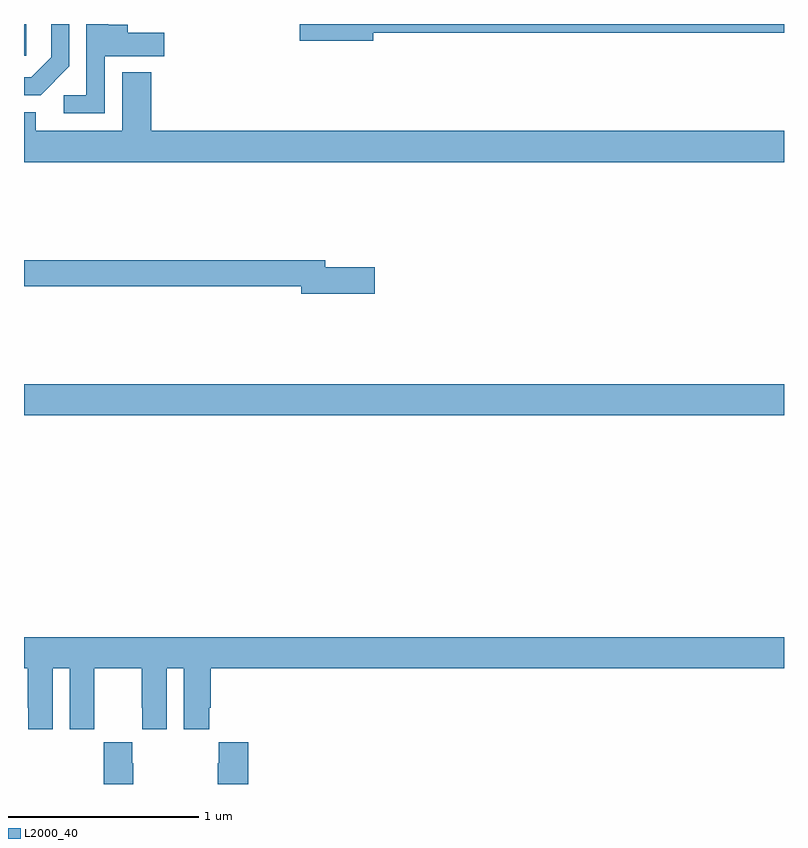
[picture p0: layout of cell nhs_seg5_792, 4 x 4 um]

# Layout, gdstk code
import gdstk
lib = gdstk.Library(unit=1e-6, precision=1e-09)
def R(c, l, rs):  # rectangles x0, y0, x1, y1
    for r in rs: c.add(gdstk.rectangle(r[:2], r[2:], *l))
def P(c, l, *ps):  # polygons
    for p in ps: c.add(gdstk.Polygon(p, *l))
L2000_40 = (2000, 40)

nhs_seg5_792 = lib.new_cell('nhs_seg5_792')
R(nhs_seg5_792, L2000_40, [(161,876.74,165,876.904), (161,878.631,161.011,878.799)])
P(nhs_seg5_792, L2000_40, [(161.163,878.499),(161.162,878.5),(161.238,878.576),(161.238,878.799),(161.144,878.799),(161.144,878.624),(161.038,878.518),(161,878.518),(161,878.424),(161.088,878.424)],
  [(161.424,878.63),(161.737,878.63),(161.737,878.752),(161.545,878.752),(161.545,878.794),(161.444,878.794),(161.444,878.799),(161.328,878.799),(161.328,878.424),(161.208,878.424),(161.208,878.328),(161.424,878.328)],
  [(162.838,878.752),(165,878.752),(165,878.799),(162.45,878.799),(162.45,878.71),(162.838,878.71)],
  [(165,878.236),(161.669,878.236),(161.669,878.545),(161.516,878.545),(161.516,878.236),(161.062,878.236),(161.062,878.335),(161,878.335),(161,878.072),(165,878.072)],
  [(162.847,877.52),(162.586,877.52),(162.586,877.556),(161,877.556),(161,877.42),(162.458,877.42),(162.458,877.378),(162.847,877.378)],
  [(161.152,875.408),(161.24,875.408),(161.24,875.088),(161.37,875.088),(161.37,875.2),(161.371,875.2),(161.371,875.408),(161.621,875.408),(161.621,875.2),(161.622,875.2),(161.622,875.088),(161.752,875.088),(161.752,875.408),(161.84,875.408),(161.84,875.088),(161.974,875.088),(161.974,875.2),(161.984,875.2),(161.984,875.408),(165,875.408),(165,875.572),(161,875.572),(161,875.408),(161.021,875.408),(161.021,875.2),(161.022,875.2),(161.022,875.088),(161.152,875.088)],
  [(162.179,875.02),(162.025,875.02),(162.025,874.907),(162.019,874.907),(162.019,874.799),(162.179,874.799)],
  [(161.574,874.907),(161.571,874.907),(161.571,875.02),(161.421,875.02),(161.421,874.907),(161.419,874.907),(161.419,874.799),(161.574,874.799)])

lib.write_gds('nhs_seg5_792.gds')
